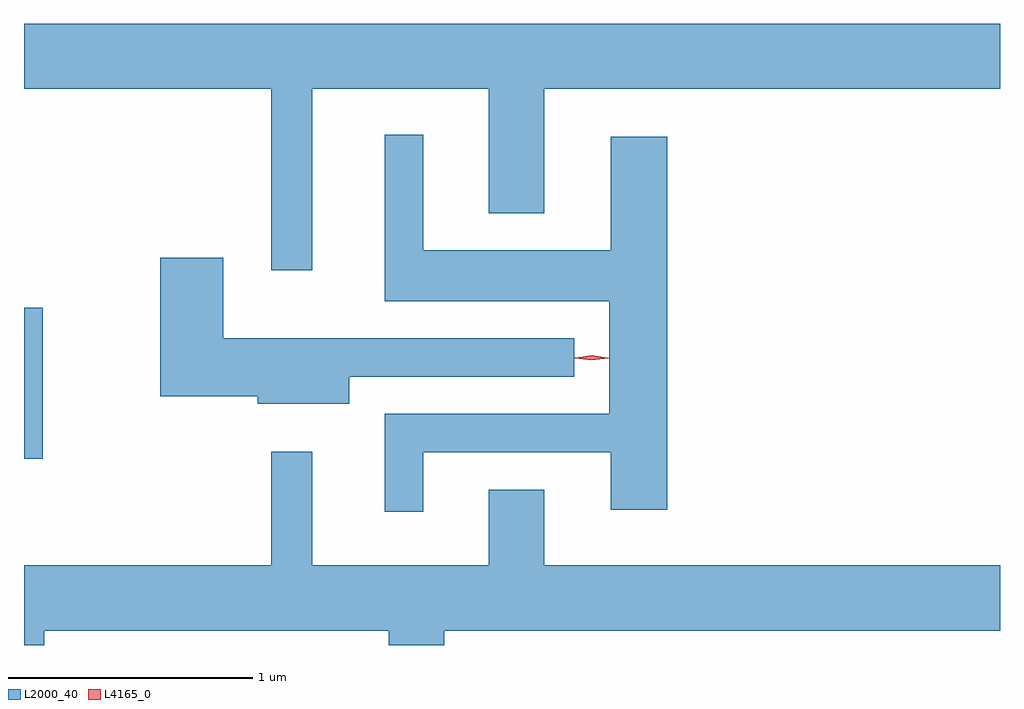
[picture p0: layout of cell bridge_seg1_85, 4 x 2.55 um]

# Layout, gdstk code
import gdstk
lib = gdstk.Library(unit=1e-6, precision=1e-09)
def R(c, l, rs):  # rectangles x0, y0, x1, y1
    for r in rs: c.add(gdstk.rectangle(r[:2], r[2:], *l))
def P(c, l, *ps):  # polygons
    for p in ps: c.add(gdstk.Polygon(p, *l))
L2000_40 = (2000, 40)
L4165_0 = (4165, 0)

bridge_seg1_85 = lib.new_cell('bridge_seg1_85')
R(bridge_seg1_85, L2000_40, [(1199.647,971.321,1199.724,971.939)])
P(bridge_seg1_85, L2000_40, [(1200.829,972.836),(1201.551,972.836),(1201.551,972.326),(1201.779,972.326),(1201.779,972.836),(1203.647,972.836),(1203.647,973.104),(1199.647,973.104),(1199.647,972.836),(1200.661,972.836),(1200.661,972.093),(1200.829,972.093)],
  [(1201.284,971.346),(1202.051,971.346),(1202.051,971.111),(1202.284,971.111),(1202.284,972.639),(1202.051,972.639),(1202.051,972.174),(1201.284,972.174),(1201.284,972.648),(1201.126,972.648),(1201.126,971.966),(1202.046,971.966),(1202.046,971.504),(1201.126,971.504),(1201.126,971.103),(1201.284,971.103)],
  [(1200.979,971.656),(1201.903,971.656),(1201.903,971.814),(1200.464,971.814),(1200.464,972.144),(1200.206,972.144),(1200.206,971.576),(1200.606,971.576),(1200.606,971.546),(1200.979,971.546)],
  [(1199.729,970.616),(1201.141,970.616),(1201.141,970.555),(1201.369,970.555),(1201.369,970.616),(1203.647,970.616),(1203.647,970.884),(1201.779,970.884),(1201.779,971.194),(1201.551,971.194),(1201.551,970.884),(1200.829,970.884),(1200.829,971.348),(1200.661,971.348),(1200.661,970.884),(1199.647,970.884),(1199.647,970.555),(1199.729,970.555)])
P(bridge_seg1_85, L4165_0, [(1201.973,971.723),(1201.904,971.733),(1201.904,971.733),(1201.904,971.734),(1201.973,971.743),(1202.042,971.734),(1202.043,971.733),(1202.042,971.733)],
  [(1201.973,971.725),(1201.908,971.734),(1201.907,971.735),(1201.908,971.735),(1201.973,971.745),(1202.039,971.735),(1202.04,971.735),(1202.039,971.734)])

lib.write_gds('bridge_seg1_85.gds')
